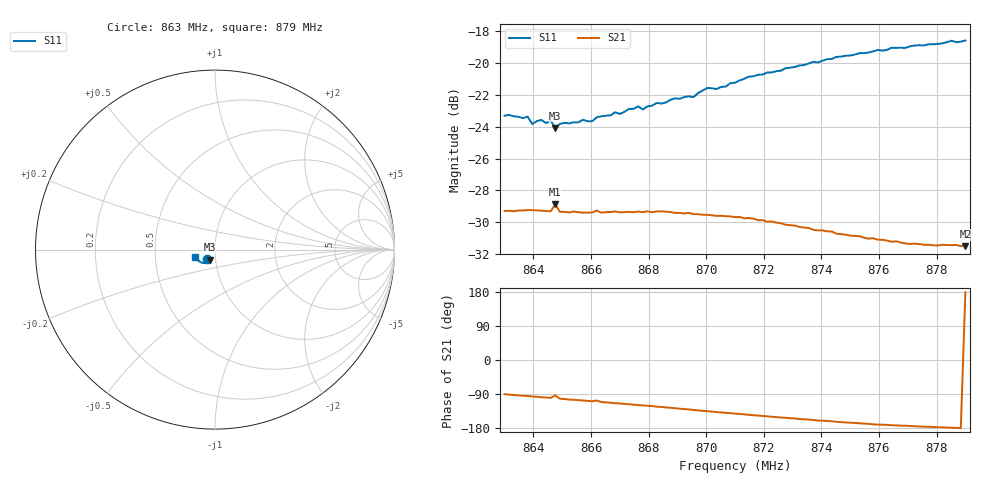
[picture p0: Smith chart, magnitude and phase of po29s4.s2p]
# HZ S RI R 50
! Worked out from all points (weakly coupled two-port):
!   101 points, 863 MHz to 879 MHz, reference 50 ohm
!   highest |S21| = -28.87 dB at 864.76 MHz (marker M1); lowest = -31.5 dB at 879 MHz (marker M2)
!   lowest |S11| = -24.1 dB at 864.76 MHz (marker M3), VSWR 1.13, Z = 47.1 - j5.32 ohm
!   |S11| at or under -10 dB: start of sweep to end of sweep
!   S12 and S22 are empty: the file has one direction only
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8.63e8  -0.0431 -0.0529  -0.000137 -0.0343  0 0  0 0
8.638e8  -0.0419 -0.0533  -0.00309 -0.0344  0 0  0 0
8.6396e8  -0.0382 -0.0518  -0.00376 -0.0343  0 0  0 0
8.6428e8  -0.0375 -0.0546  -0.00494 -0.0341  0 0  0 0
8.6444e8  -0.0374 -0.0529  -0.00535 -0.0339  0 0  0 0
8.646e8  -0.0371 -0.0544  -0.00591 -0.0337  0 0  0 0
8.6476e8  -0.027 -0.0563  -0.00217 -0.0359  0 0  0 0
8.6492e8  -0.0357 -0.0535  -0.00714 -0.0334  0 0  0 0
8.6572e8  -0.0341 -0.0568  -0.00981 -0.0325  0 0  0 0
8.6604e8  -0.0332 -0.0565  -0.011 -0.0321  0 0  0 0
8.6684e8  -0.0351 -0.0606  -0.014 -0.0312  0 0  0 0
8.67e8  -0.0338 -0.0603  -0.0142 -0.0309  0 0  0 0
8.6764e8  -0.0349 -0.0641  -0.0165 -0.03  0 0  0 0
8.678e8  -0.0349 -0.0623  -0.017 -0.0295  0 0  0 0
8.6844e8  -0.0353 -0.0656  -0.0191 -0.0284  0 0  0 0
8.6956e8  -0.0388 -0.0678  -0.0224 -0.025  0 0  0 0
8.7004e8  -0.0429 -0.0715  -0.0236 -0.0236  0 0  0 0
8.7036e8  -0.0439 -0.0701  -0.0244 -0.0224  0 0  0 0
8.71e8  -0.0475 -0.0725  -0.0257 -0.0205  0 0  0 0
8.7372e8  -0.0678 -0.0745  -0.0278 -0.0112  0 0  0 0
8.7644e8  -0.0927 -0.062  -0.0272 -0.00372  0 0  0 0
8.79e8  -0.1103 -0.0405  -0.0266 0.000401  0 0  0 0
